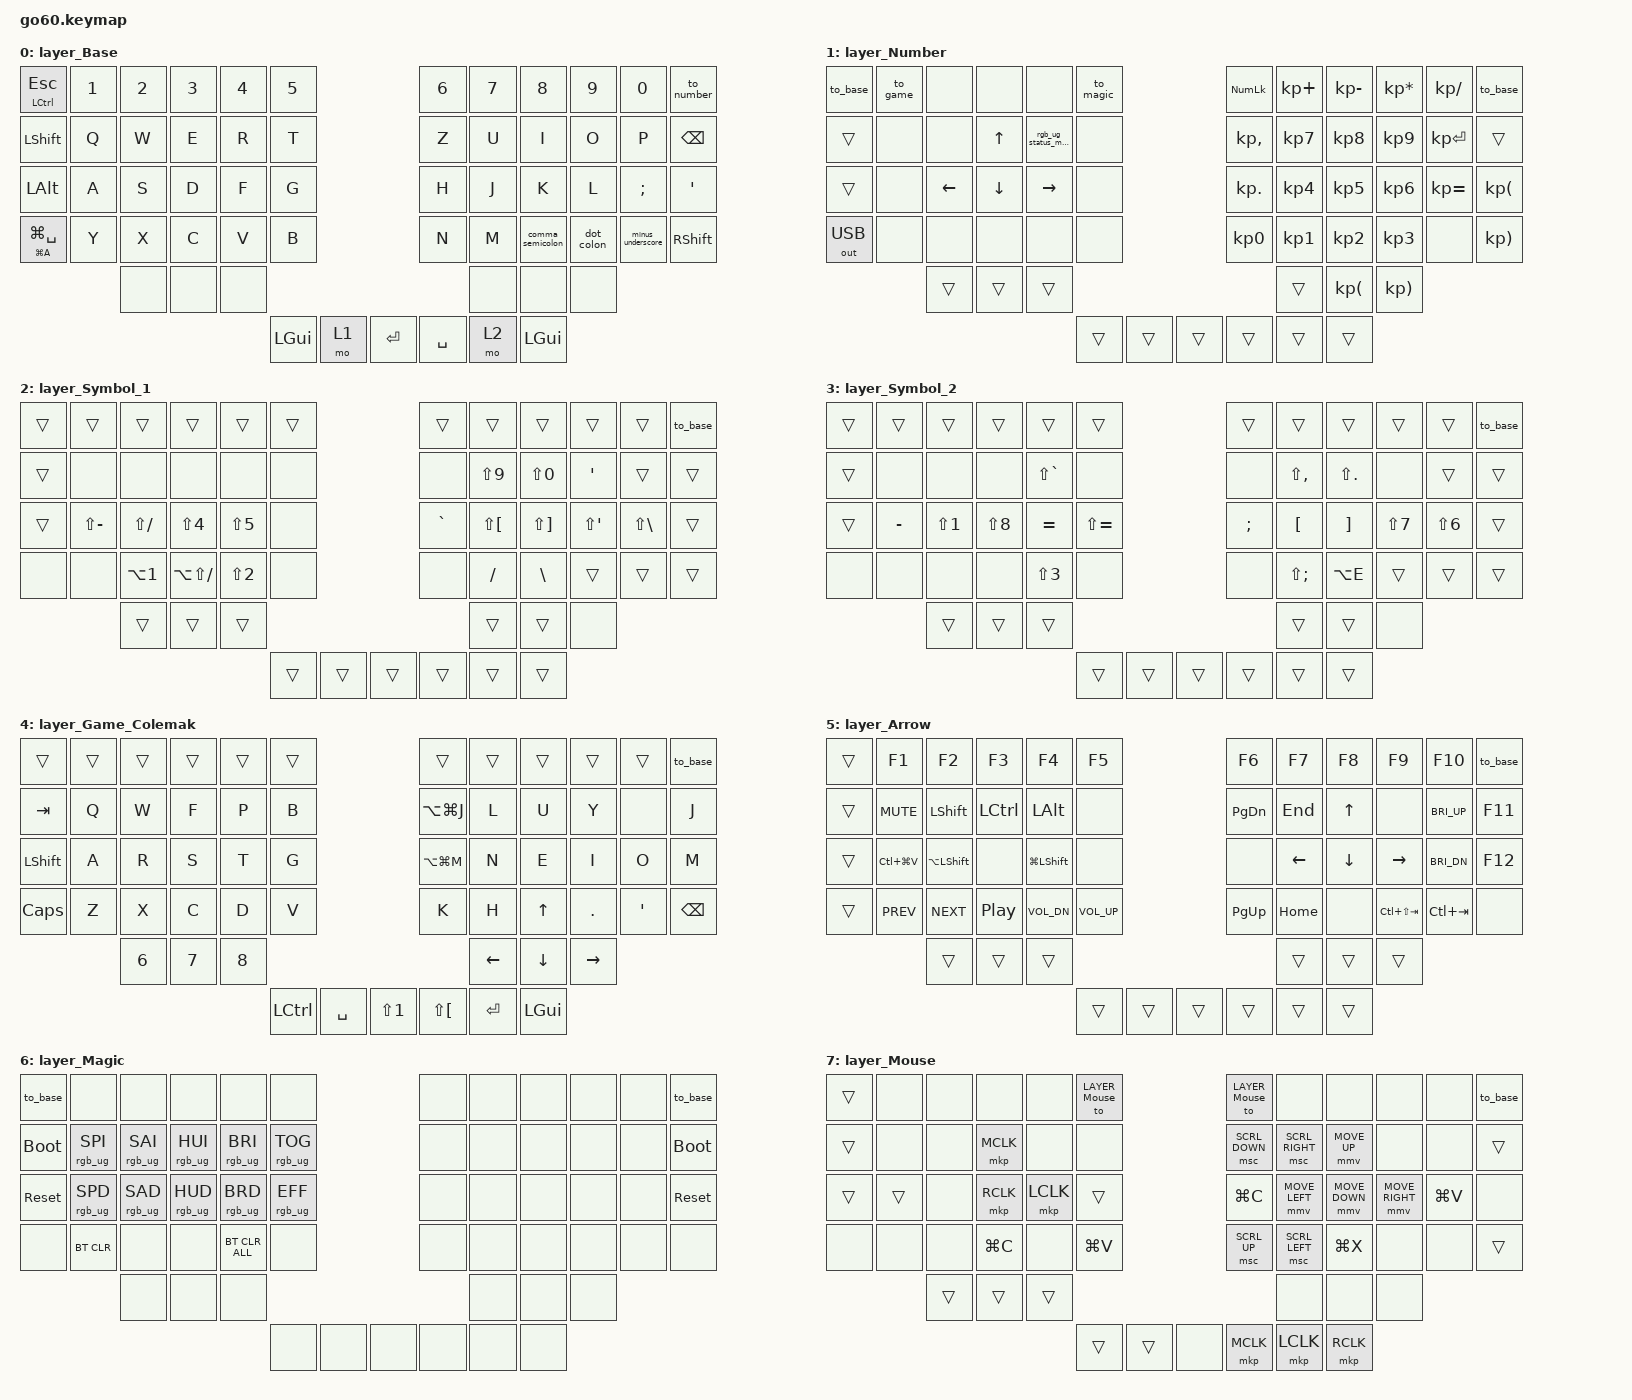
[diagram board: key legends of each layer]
/*
 * Copyright (c) 2020 The ZMK Contributors
 * Copyright (c) 2025 Innaworks Development Limited, trading as MoErgo
 *
 * SPDX-License-Identifier: MIT
 */
/* THIS FILE WAS GENERATED BY GO60 LAYOUT EDITOR */

#include <input/processors.dtsi>
#include <dt-bindings/zmk/input_transform.h>
#include <zephyr/dt-bindings/input/input-event-codes.h>
#include <behaviors.dtsi>
#include <dt-bindings/zmk/bt.h>
#include <dt-bindings/zmk/keys.h>
#include <dt-bindings/zmk/outputs.h>
#include <dt-bindings/zmk/pointing.h>
#include <dt-bindings/zmk/rgb.h>

#pragma once

#define ZMK_HELPER_STRINGIFY(x) #x
#define VARGS_(_10, _9, _8, _7, _6, _5, _4, _3, _2, _1, N, ...) N
#define VARGS(...) VARGS_(__VA_ARGS__, 10, 9, 8, 7, 6, 5, 4, 3, 2, 1, 0)
#define CONCAT_(a, b) a##b
#define CONCAT(a, b) CONCAT_(a, b)

#define ZMK_BEHAVIOR_CORE_tap_dance  \
    compatible = "zmk,behavior-tap-dance"; \
    #binding-cells = <0>

#define ZMK_BEHAVIOR(name, type, ...) \
    name: name { \
        ZMK_BEHAVIOR_CORE_ ## type; \
        __VA_ARGS__ \
    };
#define ZMK_TAP_DANCE(name, ...) \
    ZMK_BEHAVIOR(name, tap_dance, __VA_ARGS__)
#define ZMK_TD_LAYER(name, layer) \
    ZMK_TAP_DANCE(name, \
        tapping-term-ms = <200>; \
        bindings = <&mo layer>, <&to layer>; \
)

/* Key positions */

#define POS_LH_C6R1 0
#define POS_LH_C5R1 1
#define POS_LH_C4R1 2
#define POS_LH_C3R1 3
#define POS_LH_C2R1 4
#define POS_LH_C1R1 5
#define POS_RH_C1R1 6
#define POS_RH_C2R1 7
#define POS_RH_C3R1 8
#define POS_RH_C4R1 9
#define POS_RH_C5R1 10
#define POS_RH_C6R1 11
#define POS_LH_C6R2 12
#define POS_LH_C5R2 13
#define POS_LH_C4R2 14
#define POS_LH_C3R2 15
#define POS_LH_C2R2 16
#define POS_LH_C1R2 17
#define POS_RH_C1R2 18
#define POS_RH_C2R2 19
#define POS_RH_C3R2 20
#define POS_RH_C4R2 21
#define POS_RH_C5R2 22
#define POS_RH_C6R2 23
#define POS_LH_C6R3 24
#define POS_LH_C5R3 25
#define POS_LH_C4R3 26
#define POS_LH_C3R3 27
#define POS_LH_C2R3 28
#define POS_LH_C1R3 29
#define POS_RH_C1R3 30
#define POS_RH_C2R3 31
#define POS_RH_C3R3 32
#define POS_RH_C4R3 33
#define POS_RH_C5R3 34
#define POS_RH_C6R3 35
#define POS_LH_C6R4 36
#define POS_LH_C5R4 37
#define POS_LH_C4R4 38
#define POS_LH_C3R4 39
#define POS_LH_C2R4 40
#define POS_LH_C1R4 41
#define POS_RH_C1R4 42
#define POS_RH_C2R4 43
#define POS_RH_C3R4 44
#define POS_RH_C4R4 45
#define POS_RH_C5R4 46
#define POS_RH_C6R4 47
#define POS_LH_C4R5 48
#define POS_LH_C3R5 49
#define POS_LH_C2R5 50
#define POS_RH_C2R5 51
#define POS_RH_C3R5 52
#define POS_RH_C4R5 53
#define POS_LH_T1 54
#define POS_LH_T2 55
#define POS_LH_T3 56
#define POS_RH_T3 57
#define POS_RH_T2 58
#define POS_RH_T1 59
#define KB_TYPE_GLOVE_80 1
#define KB_TYPE_GO_60    2
#define KB_TYPE          KB_TYPE_GO_60
#define EDITOR_HOST_OS   'M'
#define LAYER_Base 0
#define LAYER_Number 1
#define LAYER_Symbol_1 2
#define LAYER_Symbol_2 3
#define LAYER_Game_Colemak 4
#define LAYER_Arrow 5
#define LAYER_Magic 6
#define LAYER_Mouse 7

#ifndef LAYER_Lower

#define LAYER_Lower 0

#endif

&glidepoint {
    input_processors {
        zip_click_to_right_click_mapper: zip_click_to_right_click_mapper {
            compatible = "zmk,input-processor-code-mapper";
            #input-processor-cells = <0>;
            type = <INPUT_EV_KEY>;
            map = <INPUT_BTN_0 INPUT_BTN_1>;
        };
    };
};

&cirque_rh_listener { input-processors = <&zip_xy_scaler 19 5>; };

&cirque_lh_listener {
    input-processors =
        <&zip_xy_scaler 5 7>,
        <&zip_xy_to_scroll_mapper>,
        <&zip_click_to_right_click_mapper>,
        <&zip_scroll_scaler 1 8>;
};

/ {
    behaviors {
        ZMK_TD_LAYER(lower, LAYER_Lower)
    };
};

/ {
    macros {
        rgb_base: rgb_base {
            compatible = "zmk,behavior-macro";
            #binding-cells = <0>;
            bindings = <&rgb_ug RGB_COLOR_HSB(0,0,10)>;
        };

        rgb_number: rgb_number {
            compatible = "zmk,behavior-macro";
            #binding-cells = <0>;
            bindings = <&rgb_ug RGB_COLOR_HSB(120,100,10)>;
        };

        rgb_game: rgb_game {
            compatible = "zmk,behavior-macro";
            #binding-cells = <0>;
            bindings = <&rgb_ug RGB_COLOR_HSB(180,100,10)>;
        };

        rgb_magic: rgb_magic {
            compatible = "zmk,behavior-macro";
            #binding-cells = <0>;
            bindings = <&rgb_ug RGB_COLOR_HSB(0,100,10)>;
        };

        to_number: to_number {
            compatible = "zmk,behavior-macro";
            #binding-cells = <0>;
            bindings = <&to LAYER_Number &rgb_number>;
        };

        to_game: to_game {
            compatible = "zmk,behavior-macro";
            #binding-cells = <0>;
            bindings = <&to LAYER_Game_Colemak &rgb_game>;
        };

        to_magic: to_magic {
            compatible = "zmk,behavior-macro";
            #binding-cells = <0>;
            bindings = <&to LAYER_Magic &rgb_magic>;
        };

        to_base: to_base {
            compatible = "zmk,behavior-macro";
            #binding-cells = <0>;
            bindings = <&to 0 &rgb_base>;
        };

        rgb_ug_status_macro: rgb_ug_status_macro {
            compatible = "zmk,behavior-macro";
            #binding-cells = <0>;
            bindings = <&rgb_ug RGB_STATUS>;
        };
    };
};

/ {
    #ifdef BT_DISC_CMD
    macros {
        bt_select_0: bt_select_0 {
            compatible = "zmk,behavior-macro";
            #binding-cells = <0>;
            bindings = <&out OUT_BLE &bt BT_SEL 0>;
        };
        bt_select_1: bt_select_1 {
            compatible = "zmk,behavior-macro";
            #binding-cells = <0>;
            bindings = <&out OUT_BLE &bt BT_SEL 1>;
        };
        bt_select_2: bt_select_2 {
            compatible = "zmk,behavior-macro";
            #binding-cells = <0>;
            bindings = <&out OUT_BLE &bt BT_SEL 2>;
        };
        bt_select_3: bt_select_3 {
            compatible = "zmk,behavior-macro";
            #binding-cells = <0>;
            bindings = <&out OUT_BLE &bt BT_SEL 3>;
        };
    };
    #else
    macros {
        bt_0: bt_0 {
            compatible = "zmk,behavior-macro";
            #binding-cells = <0>;
            bindings = <&out OUT_BLE &bt BT_SEL 0>;
        };
        bt_1: bt_1 {
            compatible = "zmk,behavior-macro";
            #binding-cells = <0>;
            bindings = <&out OUT_BLE &bt BT_SEL 1>;
        };
        bt_2: bt_2 {
            compatible = "zmk,behavior-macro";
            #binding-cells = <0>;
            bindings = <&out OUT_BLE &bt BT_SEL 2>;
        };
        bt_3: bt_3 {
            compatible = "zmk,behavior-macro";
            #binding-cells = <0>;
            bindings = <&out OUT_BLE &bt BT_SEL 3>;
        };
    };
    #endif
};

/ {
    behaviors {
        comma_semicolon: comma_semicolon {
            compatible = "zmk,behavior-mod-morph";
            label = "COMMA_SEMICOLON";
            bindings = <&kp COMMA>, <&kp LS(COMMA)>;
            #binding-cells = <0>;
            mods = <(MOD_LSFT)>;
        };
        dot_colon: dot_colon {
            compatible = "zmk,behavior-mod-morph";
            label = "DOT_COLON";
            bindings = <&kp DOT>, <&kp LS(DOT)>;
            #binding-cells = <0>;
            mods = <(MOD_LSFT)>;
        };
        minus_underscore: minus_underscore {
            compatible = "zmk,behavior-mod-morph";
            label = "MINUS_UNDERSCORE";
            bindings = <&kp SLASH>, <&kp LS(SLASH)>;
            #binding-cells = <0>;
            mods = <(MOD_LSFT)>;
        };
    };
};

/ {
    keymap {
        compatible = "zmk,keymap";
        layer_Base {
            bindings = <
&mt LCTRL ESCAPE     &kp N1  &kp N2  &kp N3  &kp N4  &kp N5                                                                  &kp N6  &kp N7  &kp N8            &kp N9      &kp N0             &to_number
&kp LEFT_SHIFT       &kp Q   &kp W   &kp E   &kp R   &kp T                                                                   &kp Z   &kp U   &kp I             &kp O       &kp P              &kp BSPC
&kp LEFT_ALT         &kp A   &kp S   &kp D   &kp F   &kp G                                                                   &kp H   &kp J   &kp K             &kp L       &kp SEMICOLON      &kp SQT
&mt LG(A) LG(SPACE)  &kp Y   &kp X   &kp C   &kp V   &kp B                                                                   &kp N   &kp M   &comma_semicolon  &dot_colon  &minus_underscore  &kp RIGHT_SHIFT
                             &none   &none   &none                                                                                   &none   &none             &none
                                                             &kp LEFT_GUI  &mo 1  &kp ENTER  &kp SPACE  &mo 2  &kp LEFT_GUI
>;
        };

        layer_Number {
            bindings = <
&to_base      &to_game  &none     &none     &none                 &to_magic                                                  &kp KP_NUM    &kp KP_PLUS  &kp KP_MINUS  &kp KP_MULTIPLY  &kp KP_SLASH  &to_base
&trans        &none     &none     &kp UP    &rgb_ug_status_macro  &none                                                      &kp KP_COMMA  &kp KP_N7    &kp KP_N8     &kp KP_N9        &kp KP_ENTER  &trans
&trans        &none     &kp LEFT  &kp DOWN  &kp RIGHT             &none                                                      &kp KP_DOT    &kp KP_N4    &kp KP_N5     &kp KP_N6        &kp KP_EQUAL  &kp KP_LPAR
&out OUT_USB  &none     &none     &none     &none                 &none                                                      &kp KP_N0     &kp KP_N1    &kp KP_N2     &kp KP_N3        &none         &kp KP_RPAR
                        &trans    &trans    &trans                                                                                         &trans       &kp KP_LPAR   &kp KP_RPAR
                                                                             &trans  &trans  &trans  &trans  &trans  &trans
>;
        };

        layer_Symbol_1 {
            bindings = <
&trans  &trans         &trans        &trans            &trans      &trans                                                  &trans     &trans        &trans        &trans       &trans        &to_base
&trans  &none          &none         &none             &none       &none                                                   &none      &kp LS(N9)    &kp LS(N0)    &kp SQT      &trans        &trans
&trans  &kp LS(MINUS)  &kp LS(FSLH)  &kp LS(N4)        &kp LS(N5)  &none                                                   &kp GRAVE  &kp LS(LBKT)  &kp LS(RBKT)  &kp LS(SQT)  &kp LS(BSLH)  &trans
&none   &none          &kp LA(N1)    &kp LA(LS(FSLH))  &kp LS(N2)  &none                                                   &none      &kp FSLH      &kp BSLH      &trans       &trans        &trans
                       &trans        &trans            &trans                                                                         &trans        &trans        &none
                                                                           &trans  &trans  &trans  &trans  &trans  &trans
>;
        };

        layer_Symbol_2 {
            bindings = <
&trans  &trans     &trans      &trans      &trans         &trans                                                         &trans    &trans         &trans       &trans      &trans      &to_base
&trans  &none      &none       &none       &kp LS(GRAVE)  &none                                                          &none     &kp LS(COMMA)  &kp LS(DOT)  &none       &trans      &trans
&trans  &kp MINUS  &kp LS(N1)  &kp LS(N8)  &kp EQUAL      &kp LS(EQUAL)                                                  &kp SEMI  &kp LBKT       &kp RBKT     &kp LS(N7)  &kp LS(N6)  &trans
&none   &none      &none       &none       &kp LS(N3)     &none                                                          &none     &kp LS(SEMI)   &kp LA(E)    &trans      &trans      &trans
                   &trans      &trans      &trans                                                                                  &trans         &trans       &none
                                                                         &trans  &trans  &trans  &trans  &trans  &trans
>;
        };

        layer_Game_Colemak {
            bindings = <
&trans     &trans  &trans  &trans  &trans  &trans                                                                     &trans         &trans    &trans    &trans     &trans   &to_base
&kp TAB    &kp Q   &kp W   &kp F   &kp P   &kp B                                                                      &kp LA(LG(J))  &kp L     &kp U     &kp Y      &none    &kp J
&kp LSHFT  &kp A   &kp R   &kp S   &kp T   &kp G                                                                      &kp LA(LG(M))  &kp N     &kp E     &kp I      &kp O    &kp M
&kp CAPS   &kp Z   &kp X   &kp C   &kp D   &kp V                                                                      &kp K          &kp H     &kp UP    &kp DOT    &kp SQT  &kp BSPC
                   &kp N6  &kp N7  &kp N8                                                                                            &kp LEFT  &kp DOWN  &kp RIGHT
                                                   &kp LCTRL  &kp SPACE  &kp LS(N1)  &kp LS(LBKT)  &kp RET  &kp LGUI
>;
        };

        layer_Arrow {
            bindings = <
&trans  &kp F1         &kp F2         &kp F3     &kp F4         &kp F5                                                        &kp F6     &kp F7    &kp F8    &kp F9           &kp F10       &to_base
&trans  &kp C_MUTE     &kp LSHFT      &kp LCTRL  &kp LALT       &none                                                         &kp PG_DN  &kp END   &kp UP    &none            &kp C_BRI_UP  &kp F11
&trans  &kp LC(LG(V))  &kp LA(LSHFT)  &none      &kp LG(LSHFT)  &none                                                         &none      &kp LEFT  &kp DOWN  &kp RIGHT        &kp C_BRI_DN  &kp F12
&trans  &kp C_PREV     &kp C_NEXT     &kp C_PP   &kp C_VOL_DN   &kp C_VOL_UP                                                  &kp PG_UP  &kp HOME  &none     &kp LC(LS(TAB))  &kp LC(TAB)   &none
                       &trans         &trans     &trans                                                                                  &trans    &trans    &trans
                                                                              &trans  &trans  &trans  &trans  &trans  &trans
>;
        };

        layer_Magic {
            bindings = <
&to_base     &none            &none            &none            &none            &none                                                      &none  &none  &none  &none  &none  &to_base
&bootloader  &rgb_ug RGB_SPI  &rgb_ug RGB_SAI  &rgb_ug RGB_HUI  &rgb_ug RGB_BRI  &rgb_ug RGB_TOG                                            &none  &none  &none  &none  &none  &bootloader
&sys_reset   &rgb_ug RGB_SPD  &rgb_ug RGB_SAD  &rgb_ug RGB_HUD  &rgb_ug RGB_BRD  &rgb_ug RGB_EFF                                            &none  &none  &none  &none  &none  &sys_reset
&none        &bt BT_CLR       &none            &none            &bt BT_CLR_ALL   &none                                                      &none  &none  &none  &none  &none  &none
                              &none            &none            &none                                                                              &none  &none  &none
                                                                                                  &none  &none  &none  &none  &none  &none
>;
        };

        layer_Mouse {
            bindings = <
&trans  &none   &none   &none      &none      &to LAYER_Mouse                                                          &to LAYER_Mouse  &none            &none           &none            &none      &to_base
&trans  &none   &none   &mkp MCLK  &none      &none                                                                    &msc SCRL_DOWN   &msc SCRL_RIGHT  &mmv MOVE_UP    &none            &none      &trans
&trans  &trans  &none   &mkp RCLK  &mkp LCLK  &trans                                                                   &kp LG(C)        &mmv MOVE_LEFT   &mmv MOVE_DOWN  &mmv MOVE_RIGHT  &kp LG(V)  &none
&none   &none   &none   &kp LG(C)  &none      &kp LG(V)                                                                &msc SCRL_UP     &msc SCRL_LEFT   &kp LG(X)       &none            &none      &trans
                &trans  &trans     &trans                                                                                               &none            &none           &none
                                                               &trans  &trans  &none  &mkp MCLK  &mkp LCLK  &mkp RCLK
>;
        };
    };
};
